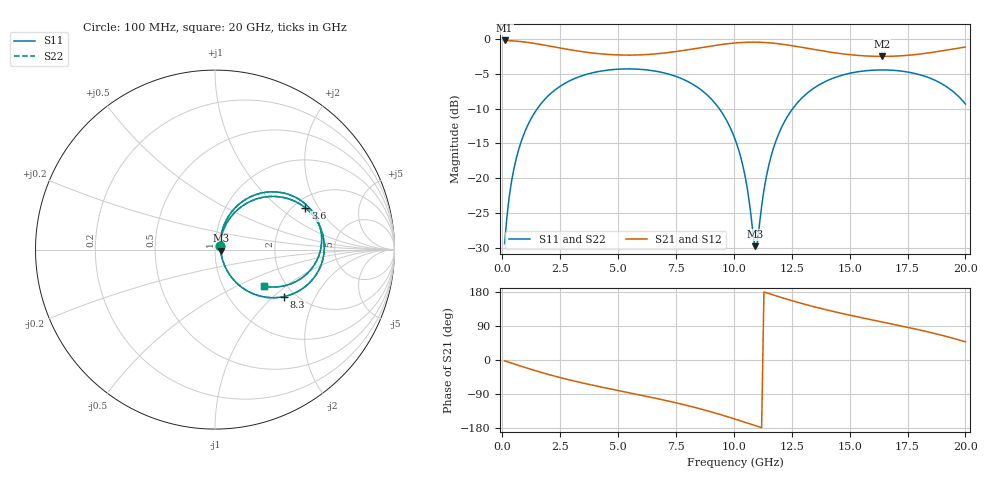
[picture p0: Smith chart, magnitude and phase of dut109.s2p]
! Touchstone file exported from HFSS 2026.1.0
!  File:  C:/ffzhzh/LocalFiles/Ansys_Project_Files/temp_train_TSV_RDL_109_1783045505_36532.aedt
!  Generated:  10:50:36 AM Jul  3, 2026
!  Design:  TSV_RDL
!  Project:  temp_train_TSV_RDL_109_1783045505_36532
! Variables:
!  h_bsmrdl = 5.9um
!  h_ox = 20um
!  h_rdl = 5um
!  h_sub = 99.59um
!  h_tmrdl = 5.71um
!  h_tsv = 99.59um
!  h_via = 3um
!  l_bsmrdl = 631.66um
!  l_sub = 5138.68um
!  l_tmrdl = 680.1um
!  m_sub = 200um
!  pitch = 56.4um
!  r_tsv = 3.56um
!  s_tmrdl = 10um
!  w_bsmrdl = 29.31um
!  w_sub = 500um
!  w_tmrdl = 11.79um
!  x_tsv_center1 = 685.995um
!  x_tsv_center2 = 1346.965um
!  x_tsv_center3 = 2038.855um
!  x_tsv_center4 = 2699.825um
!  x_tsv_center5 = 3391.715um
!  x_tsv_center6 = 4052.685um
# GHz S MA R 50.000000
! Terminal data exported
! Port[1] = TM_RDL1_1_T1
! Port[2] = TM_RDL5_1_T1
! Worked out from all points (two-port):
!   200 points, 100 MHz to 20 GHz, reference 50 ohm
!   highest |S21| = -0.22 dB at 100 MHz (marker M1); lowest = -2.5 dB at 16.4 GHz (marker M2)
!   |S21| within 3 dB of the highest: start of sweep to end of sweep
!   lowest |S11| = -29.8 dB at 10.9 GHz (marker M3), VSWR 1.07, Z = 53.3 - j0.726 ohm
!   |S11| at or under -10 dB: start of sweep to 1.515 GHz; 9.366 GHz to 12.55 GHz (3.181 GHz wide, 29 % of centre)
!   |S22| runs from -29.8 to -4.3 dB; largest |S21 - S12| = 1.7e-14
!   S11 on the Smith chart (normalised r, x): 100 MHz: 1.05, +0.05; 3.6 GHz: 2.30, +1.55; 8.3 GHz: 1.75, -1.17; 20 GHz: 1.55, -0.72
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0.1  0.03384 42.1  0.9755 -2.1  0.9755 -2.1  0.03384 42.1
! Gamma 0 0 0 0
! Port Impedance 50 0 50 0
0.3  0.07361 63.7  0.9723 -6.2  0.9723 -6.2  0.07361 63.7
0.5  0.1164 66.9  0.9677 -10.2  0.9677 -10.2  0.1164 66.9
1.1  0.2401 61.6  0.9442 -22.0  0.9442 -22.0  0.2401 61.6
2.1  0.4069 46.2  0.8857 -39.9  0.8857 -39.9  0.407 46.2
3.5  0.5479 26.2  0.8084 -61.1  0.8084 -61.1  0.5479 26.2
3.6  0.5544 24.9  0.8041 -62.5  0.8041 -62.5  0.5544 24.9
5.2  0.6085 5.1  0.766 -83.1  0.766 -83.1  0.6085 5.1
6.8  0.5793 -14.2  0.7862 -103.4  0.7862 -103.4  0.5793 -14.2
8.3  0.4648 -34.3  0.8511 -125.0  0.8511 -125.0  0.4648 -34.3
9.4  0.3106 -50.4  0.9094 -143.6  0.9094 -143.6  0.3106 -50.5
10.1  0.1812 -59.1  0.9374 -156.8  0.9374 -156.8  0.1812 -59.2
10.5  0.1006 -58.7  0.9463 -164.6  0.9463 -164.6  0.1005 -58.8
10.9  0.03246 -12.1  0.9485 -172.6  0.9485 -172.6  0.03222 -12.3
11  0.03303 24.4  0.948 -174.6  0.948 -174.6  0.03277 24.6
11.4  0.1019 68.4  0.9415 177.5  0.9415 177.5  0.1018 68.6
11.8  0.1816 68.8  0.9288 169.7  0.9288 169.7  0.1816 68.8
13.4  0.4366 47.3  0.8444 141.5  0.8444 141.5  0.4366 47.3
16.4  0.5991 9.4  0.7492 100.5  0.7492 100.5  0.5991 9.5
16.7  0.5976 5.9  0.7502 96.7  0.7502 96.7  0.5976 6.0
18.3  0.5358 -13.6  0.7893 75.4  0.7893 75.4  0.5358 -13.6
20  0.3412 -36.7  0.8751 48.1  0.8751 48.1  0.3412 -36.6
